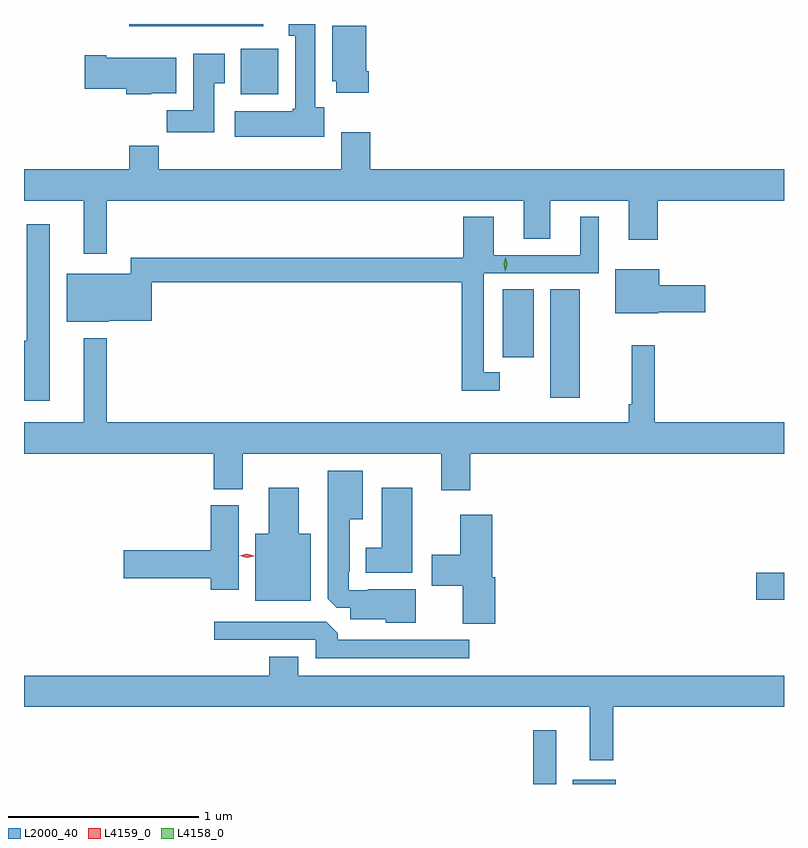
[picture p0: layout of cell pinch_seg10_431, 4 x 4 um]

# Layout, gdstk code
import gdstk
lib = gdstk.Library(unit=1e-6, precision=1e-09)
def R(c, l, rs):  # rectangles x0, y0, x1, y1
    for r in rs: c.add(gdstk.rectangle(r[:2], r[2:], *l))
def P(c, l, *ps):  # polygons
    for p in ps: c.add(gdstk.Polygon(p, *l))
L2000_40 = (2000, 40)
L4158_0 = (4158, 0)
L4159_0 = (4159, 0)

pinch_seg10_431 = lib.new_cell('pinch_seg10_431')
R(pinch_seg10_431, L2000_40, [(340.65,1298.577,340.771,1298.86), (340.859,1298.577,341.086,1298.599), (341.826,1299.547,341.971,1299.689), (340.742,1300.611,340.897,1301.18), (340.49,1300.824,340.654,1301.18), (339.113,1302.206,339.31,1302.448), (338.525,1302.566,339.229,1302.577)])
P(pinch_seg10_431, L2000_40, [(339.55,1302.138),(339.505,1302.138),(339.505,1302.577),(339.365,1302.577),(339.365,1302.515),(339.398,1302.515),(339.398,1302.132),(339.385,1302.132),(339.385,1302.118),(339.081,1302.118),(339.081,1301.984),(339.55,1301.984)],
  [(339.785,1302.328),(339.772,1302.328),(339.772,1302.568),(339.593,1302.568),(339.593,1302.276),(339.614,1302.276),(339.614,1302.216),(339.785,1302.216)],
  [(338.971,1302.265),(339.028,1302.265),(339.028,1302.421),(338.861,1302.421),(338.861,1302.124),(338.722,1302.124),(338.722,1302.006),(338.971,1302.006)],
  [(338.64,1302.212),(338.773,1302.212),(338.773,1302.4),(338.404,1302.4),(338.404,1302.413),(338.292,1302.413),(338.292,1302.235),(338.51,1302.235),(338.51,1302.206),(338.64,1302.206)],
  [(338.407,1301.648),(340.601,1301.648),(340.601,1301.446),(340.741,1301.446),(340.741,1301.648),(341.153,1301.648),(341.153,1301.442),(341.306,1301.442),(341.306,1301.648),(341.971,1301.648),(341.971,1301.812),(339.794,1301.812),(339.794,1302.007),(339.641,1302.007),(339.641,1301.812),(338.681,1301.812),(338.681,1301.936),(338.525,1301.936),(338.525,1301.812),(337.971,1301.812),(337.971,1301.648),(338.285,1301.648),(338.285,1301.367),(338.407,1301.367)],
  [(340.474,1300.743),(340.392,1300.743),(340.392,1301.265),(340.996,1301.265),(340.996,1301.563),(340.898,1301.563),(340.898,1301.361),(340.444,1301.361),(340.444,1301.563),(340.283,1301.563),(340.283,1301.347),(338.534,1301.347),(338.534,1301.263),(338.195,1301.263),(338.195,1301.009),(338.418,1301.009),(338.418,1301.015),(338.644,1301.015),(338.644,1301.218),(340.276,1301.218),(340.276,1300.646),(340.474,1300.646)],
  [(338.107,1301.524),(337.986,1301.524),(337.986,1300.91),(337.971,1300.91),(337.971,1300.595),(338.107,1300.595)],
  [(341.31,1301.06),(341.557,1301.06),(341.557,1301.202),(341.314,1301.202),(341.314,1301.287),(341.084,1301.287),(341.084,1301.054),(341.31,1301.054)],
  [(340.319,1300.316),(341.971,1300.316),(341.971,1300.48),(341.291,1300.48),(341.291,1300.885),(341.17,1300.885),(341.17,1300.576),(341.155,1300.576),(341.155,1300.48),(338.407,1300.48),(338.407,1300.924),(338.285,1300.924),(338.285,1300.48),(337.971,1300.48),(337.971,1300.316),(338.969,1300.316),(338.969,1300.129),(339.121,1300.129),(339.121,1300.316),(340.166,1300.316),(340.166,1300.122),(340.319,1300.122)],
  [(340.033,1299.601),(339.781,1299.601),(339.781,1299.597),(339.681,1299.597),(339.681,1299.697),(339.685,1299.697),(339.685,1299.971),(339.754,1299.971),(339.754,1300.225),(339.569,1300.225),(339.569,1299.553),(339.618,1299.504),(339.689,1299.504),(339.689,1299.443),(339.876,1299.443),(339.876,1299.425),(340.033,1299.425)],
  [(340.015,1300.135),(339.854,1300.135),(339.854,1299.82),(339.77,1299.82),(339.77,1299.689),(340.015,1299.689)],
  [(339.481,1299.895),(339.418,1299.895),(339.418,1300.135),(339.26,1300.135),(339.26,1299.895),(339.188,1299.895),(339.188,1299.542),(339.481,1299.542)],
  [(339.1,1300.044),(338.954,1300.044),(338.954,1299.806),(338.496,1299.806),(338.496,1299.659),(338.954,1299.659),(338.954,1299.6),(339.1,1299.6)],
  [(340.451,1299.665),(340.436,1299.665),(340.436,1299.994),(340.268,1299.994),(340.268,1299.783),(340.116,1299.783),(340.116,1299.62),(340.28,1299.62),(340.28,1299.421),(340.451,1299.421)],
  [(340.315,1299.336),(339.623,1299.336),(339.623,1299.37),(339.561,1299.432),(338.973,1299.432),(338.973,1299.336),(339.507,1299.336),(339.507,1299.24),(340.315,1299.24)],
  [(341.071,1298.984),(341.971,1298.984),(341.971,1299.148),(339.415,1299.148),(339.415,1299.247),(339.263,1299.247),(339.263,1299.148),(337.971,1299.148),(337.971,1298.984),(340.949,1298.984),(340.949,1298.703),(341.071,1298.703)])
P(pinch_seg10_431, L4158_0, [(340.504,1301.277),(340.504,1301.277),(340.495,1301.314),(340.507,1301.349),(340.507,1301.35),(340.507,1301.349),(340.515,1301.313),(340.504,1301.277)])
P(pinch_seg10_431, L4159_0, [(339.143,1299.768),(339.106,1299.779),(339.105,1299.779),(339.106,1299.779),(339.143,1299.788),(339.181,1299.778),(339.181,1299.778),(339.181,1299.777)])

lib.write_gds('pinch_seg10_431.gds')
